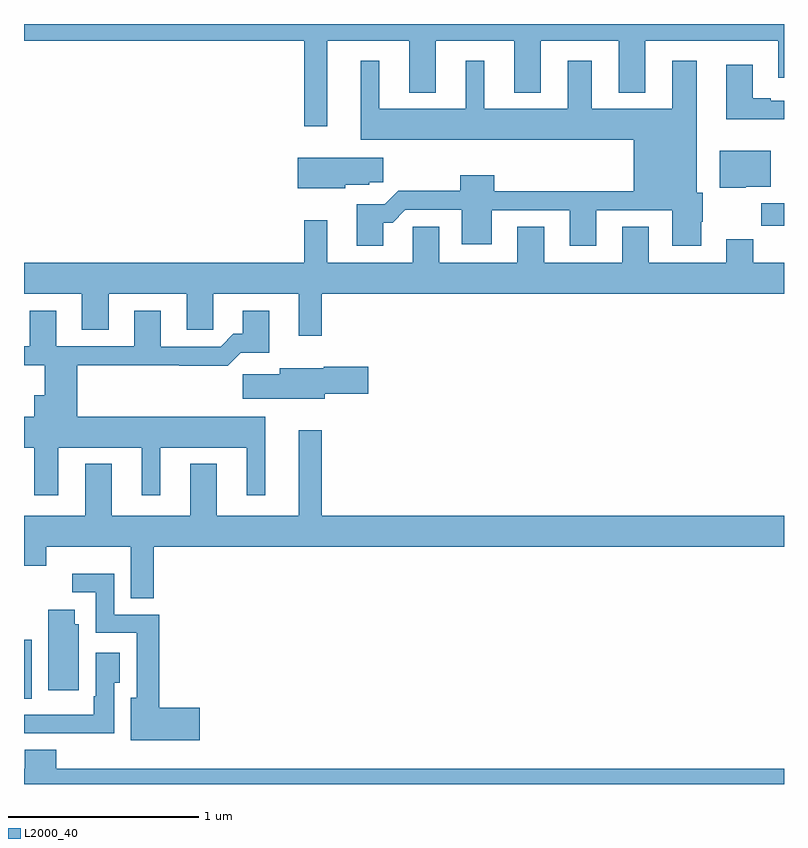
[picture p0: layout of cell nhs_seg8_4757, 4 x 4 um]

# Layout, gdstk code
import gdstk
lib = gdstk.Library(unit=1e-6, precision=1e-09)
def R(c, l, rs):  # rectangles x0, y0, x1, y1
    for r in rs: c.add(gdstk.rectangle(r[:2], r[2:], *l))
def P(c, l, *ps):  # polygons
    for p in ps: c.add(gdstk.Polygon(p, *l))
L2000_40 = (2000, 40)

nhs_seg8_4757 = lib.new_cell('nhs_seg8_4757')
R(nhs_seg8_4757, L2000_40, [(399,1134.349,399.04,1134.66), (402.88,1136.838,403,1136.956)])
P(nhs_seg8_4757, L2000_40, [(400.597,1137.812),(401.027,1137.812),(401.027,1137.539),(401.167,1137.539),(401.167,1137.812),(401.579,1137.812),(401.579,1137.539),(401.719,1137.539),(401.719,1137.812),(402.131,1137.812),(402.131,1137.539),(402.271,1137.539),(402.271,1137.812),(402.971,1137.812),(402.971,1137.618),(403,1137.618),(403,1137.9),(399,1137.9),(399,1137.812),(400.476,1137.812),(400.476,1137.363),(400.597,1137.363)],
  [(400.891,1136.855),(400.94,1136.855),(401.007,1136.922),(401.303,1136.922),(401.303,1136.741),(401.461,1136.741),(401.461,1136.919),(401.873,1136.919),(401.873,1136.733),(402.013,1136.733),(402.013,1136.919),(402.413,1136.919),(402.413,1136.733),(402.565,1136.733),(402.565,1136.86),(402.573,1136.86),(402.573,1137.012),(402.541,1137.012),(402.541,1137.706),(402.413,1137.706),(402.413,1137.454),(401.989,1137.454),(401.989,1137.706),(401.861,1137.706),(401.861,1137.454),(401.422,1137.454),(401.422,1137.706),(401.324,1137.706),(401.324,1137.454),(400.87,1137.454),(400.87,1137.706),(400.772,1137.706),(400.772,1137.29),(402.209,1137.29),(402.209,1137.02),(401.474,1137.02),(401.474,1137.103),(401.296,1137.103),(401.296,1137.023),(400.97,1137.023),(400.899,1136.952),(400.751,1136.952),(400.751,1136.733),(400.891,1136.733)],
  [(403,1137.495),(402.931,1137.495),(402.931,1137.508),(402.835,1137.508),(402.835,1137.685),(402.695,1137.685),(402.695,1137.398),(403,1137.398)],
  [(402.798,1137.044),(402.931,1137.044),(402.931,1137.232),(402.662,1137.232),(402.662,1137.038),(402.798,1137.038)],
  [(400.692,1137.053),(400.818,1137.053),(400.818,1137.067),(400.891,1137.067),(400.891,1137.196),(400.442,1137.196),(400.442,1137.035),(400.692,1137.035)],
  [(400.567,1136.48),(403,1136.48),(403,1136.644),(402.839,1136.644),(402.839,1136.768),(402.695,1136.768),(402.695,1136.644),(402.289,1136.644),(402.289,1136.834),(402.149,1136.834),(402.149,1136.644),(401.737,1136.644),(401.737,1136.834),(401.597,1136.834),(401.597,1136.644),(401.185,1136.644),(401.185,1136.834),(401.046,1136.834),(401.046,1136.644),(400.597,1136.644),(400.597,1136.866),(400.476,1136.866),(400.476,1136.644),(399,1136.644),(399,1136.48),(399.305,1136.48),(399.305,1136.29),(399.445,1136.29),(399.445,1136.48),(399.857,1136.48),(399.857,1136.29),(399.996,1136.29),(399.996,1136.48),(400.445,1136.48),(400.445,1136.259),(400.567,1136.259)],
  [(399.181,1135.67),(399.62,1135.67),(399.62,1135.419),(399.718,1135.419),(399.718,1135.67),(400.172,1135.67),(400.172,1135.419),(400.27,1135.419),(400.27,1135.834),(399.281,1135.834),(399.281,1136.104),(399.817,1136.104),(399.817,1136.102),(400.073,1136.102),(400.142,1136.171),(400.291,1136.171),(400.291,1136.392),(400.151,1136.392),(400.151,1136.269),(400.102,1136.269),(400.035,1136.202),(399.721,1136.202),(399.721,1136.392),(399.581,1136.392),(399.581,1136.205),(399.169,1136.205),(399.169,1136.392),(399.029,1136.392),(399.029,1136.205),(399,1136.205),(399,1136.104),(399.11,1136.104),(399.11,1135.945),(399.053,1135.945),(399.053,1135.834),(399,1135.834),(399,1135.67),(399.053,1135.67),(399.053,1135.419),(399.181,1135.419)],
  [(400.582,1135.955),(400.813,1135.955),(400.813,1136.097),(400.578,1136.097),(400.578,1136.089),(400.346,1136.089),(400.346,1136.057),(400.152,1136.057),(400.152,1135.928),(400.582,1135.928)],
  [(399.682,1135.148),(403,1135.148),(403,1135.312),(400.567,1135.312),(400.567,1135.762),(400.445,1135.762),(400.445,1135.312),(400.015,1135.312),(400.015,1135.585),(399.875,1135.585),(399.875,1135.312),(399.463,1135.312),(399.463,1135.585),(399.323,1135.585),(399.323,1135.312),(399,1135.312),(399,1135.049),(399.117,1135.049),(399.117,1135.148),(399.563,1135.148),(399.563,1134.877),(399.682,1134.877)],
  [(399.925,1134.302),(399.712,1134.302),(399.712,1134.792),(399.474,1134.792),(399.474,1135.006),(399.255,1135.006),(399.255,1134.909),(399.378,1134.909),(399.378,1134.696),(399.593,1134.696),(399.593,1134.355),(399.563,1134.355),(399.563,1134.131),(399.925,1134.131)],
  [(399.289,1134.741),(399.268,1134.741),(399.268,1134.817),(399.128,1134.817),(399.128,1134.393),(399.289,1134.393)],
  [(399.474,1134.433),(399.505,1134.433),(399.505,1134.592),(399.378,1134.592),(399.378,1134.361),(399.366,1134.361),(399.366,1134.264),(399,1134.264),(399,1134.168),(399.253,1134.168),(399.253,1134.167),(399.474,1134.167)],
  [(403,1133.98),(399.17,1133.98),(399.17,1134.079),(399.005,1134.079),(399.005,1133.98),(399,1133.98),(399,1133.9),(403,1133.9)])

lib.write_gds('nhs_seg8_4757.gds')
